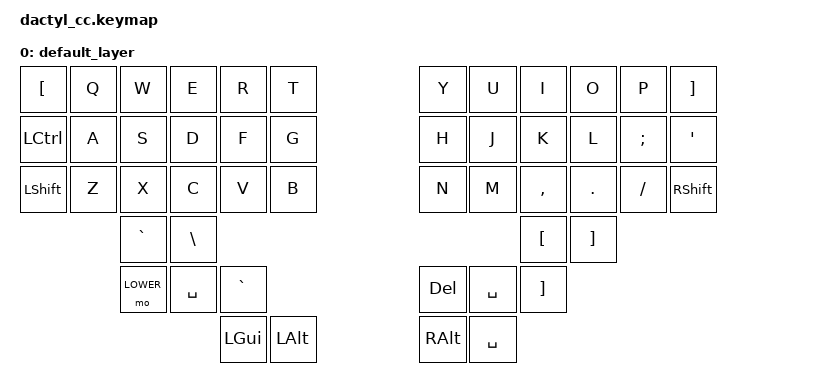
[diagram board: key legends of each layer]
#include <behaviors.dtsi>
#include <dt-bindings/zmk/keys.h>
#include <dt-bindings/zmk/bt.h>
#include <dt-bindings/zmk/outputs.h>

#define DEFAULT 0
#define MAC     1
#define LOWER   2
#define RAISE   3
#define ADJUST  4

#define HYPER(key) LS(LC(LA(LG(key))))
#define MEH(key)   LS(LC(LA(key)))

&sl {
    release-after-ms = <5000>;
};

&kscan0 {
    debounce-press-ms = <30>;
    debounce-release-ms = <30>;
};

/ {
    keymap {
        compatible = "zmk,keymap";

        default_layer {
            bindings = <
&kp LBKT   &kp Q     &kp W    &kp E     &kp R     &kp T                              &kp Y     &kp U     &kp I     &kp O     &kp P    &kp RBKT
&kp LCTRL  &kp A     &kp S    &kp D     &kp F     &kp G                              &kp H     &kp J     &kp K     &kp L     &kp SEMI &kp SQT
&kp LSHFT  &kp Z     &kp X    &kp C     &kp V     &kp B                              &kp N     &kp M     &kp COMMA &kp DOT   &kp FSLH &kp RSHFT
                     &kp GRAVE &kp BSLH                                                                  &kp LBKT  &kp RBKT
                        &mo LOWER     &kp SPACE      &kp GRAVE                   &kp DEL    &kp SPACE     &kp RBKT
                                      &kp LGUI       &kp LALT                      &kp RALT   &kp SPACE
            >;
        };
    };
};
